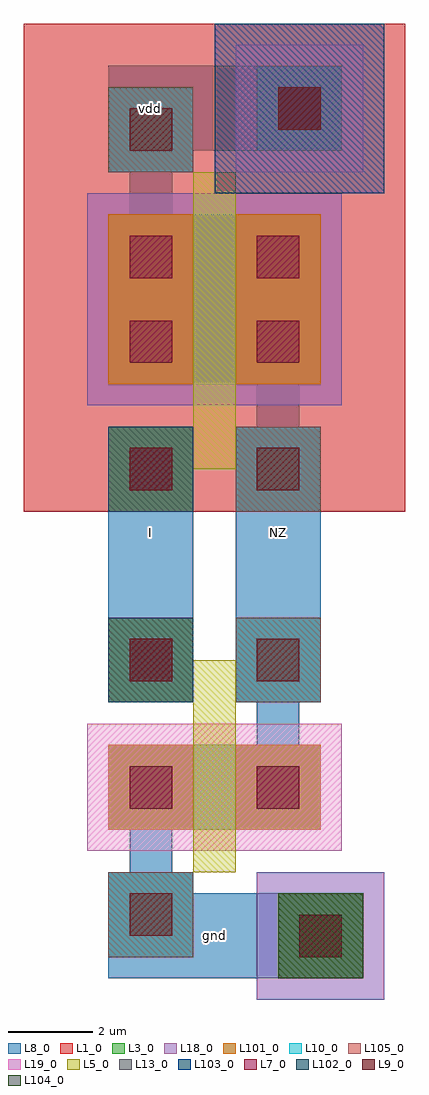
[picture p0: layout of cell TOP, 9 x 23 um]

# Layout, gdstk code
import gdstk
lib = gdstk.Library(unit=1e-6, precision=5e-07)
def R(c, l, rs):  # rectangles x0, y0, x1, y1
    for r in rs: c.add(gdstk.rectangle(r[:2], r[2:], *l))
L1_0 = (1, 0)
L3_0 = (3, 0)
L5_0 = (5, 0)
L7_0 = (7, 0)
L8_0 = (8, 0)
L9_0 = (9, 0)
L10_0 = (10, 0)
L13_0 = (13, 0)
L18_0 = (18, 0)
L19_0 = (19, 0)
L101_0 = (101, 0)
L102_0 = (102, 0)
L103_0 = (103, 0)
L104_0 = (104, 0)
L105_0 = (105, 0)

dcont = lib.new_cell('dcont')
R(dcont, L3_0, [(-1,-1,1,1)])
R(dcont, L7_0, [(-0.5,-0.5,0.5,0.5)])
R(dcont, L8_0, [(-1,-1,1,1)])
R(dcont, L13_0, [(-0.5,-0.5,0.5,0.5)])
R(dcont, L101_0, [(-1,-1,1,1)])

pcont = lib.new_cell('pcont')
R(pcont, L5_0, [(-1,-1,1,1)])
R(pcont, L7_0, [(-0.5,-0.5,0.5,0.5)])
R(pcont, L8_0, [(-1,-1,1,1)])
R(pcont, L13_0, [(-0.5,-0.5,0.5,0.5)])
R(pcont, L102_0, [(-1,-1,1,1)])

via = lib.new_cell('Via')
R(via, L8_0, [(-1,-1,1,1)])
R(via, L9_0, [(-0.5,-0.5,0.5,0.5)])
R(via, L10_0, [(-1,-1,1,1)])
R(via, L13_0, [(-0.5,-0.5,0.5,0.5)])
R(via, L105_0, [(-1,-1,1,1)])

dcont1 = lib.new_cell('dcont1')
R(dcont1, L3_0, [(-1,-1,1,1)])
R(dcont1, L7_0, [(-0.5,-0.5,0.5,0.5)])
R(dcont1, L8_0, [(-1,-1,1,1)])
R(dcont1, L13_0, [(-0.5,-0.5,0.5,0.5)])
R(dcont1, L101_0, [(-1,-1,1,1)])

nsubcont = lib.new_cell('nsubcont')
R(nsubcont, L1_0, [(-2,-2,2,2)])
R(nsubcont, L19_0, [(-1.5,-1.5,1.5,1.5)])
R(nsubcont, L103_0, [(-2,-2,2,2)])
nsubcont.add(gdstk.Reference(dcont1, (0,0)))

pch = lib.new_cell('Pch')
R(pch, L1_0, [(-2,0,7,11.5)])
R(pch, L3_0, [(0,3,5,7)])
R(pch, L18_0, [(-0.5,2.5,5.5,7.5)])
pch.add(gdstk.FlexPath([(1,3),(1,7)], 2, ends="flush", simple_path=True, layer=8, datatype=0))  # L8_0
pch.add(gdstk.FlexPath([(4,3),(4,7)], 2, ends="flush", simple_path=True, layer=8, datatype=0))  # L8_0
pch.add(gdstk.FlexPath([(1,6),(1,9)], 1, ends="flush", simple_path=True, layer=8, datatype=0))  # L8_0
pch.add(gdstk.FlexPath([(4,1),(4,4)], 1, ends="flush", simple_path=True, layer=8, datatype=0))  # L8_0
pch.add(gdstk.FlexPath([(2.5,3),(2.5,7)], 1, ends=(1, 1), simple_path=True, layer=5, datatype=0))  # L5_0
pch.add(gdstk.FlexPath([(1,1.5),(2.5,1.5),(2.5,2)], 1, ends="flush", simple_path=True, layer=5, datatype=0))  # L5_0
pch.add(gdstk.Reference(dcont, (1,4)))
pch.add(gdstk.Reference(dcont, (1,6)))
pch.add(gdstk.Reference(dcont, (4,4)))
pch.add(gdstk.Reference(dcont, (4,6)))
pch.add(gdstk.Reference(pcont, (1,1)))
pch.add(gdstk.Reference(via, (1,1)))
pch.add(gdstk.Reference(via, (1,9)))
pch.add(gdstk.Reference(via, (4,1)))
pch.add(gdstk.Reference(nsubcont, (4.5,9.5)))
pch.add(gdstk.Reference(via, (4.5,9.5)))

psubcont = lib.new_cell('psubcont')
R(psubcont, L18_0, [(-1.5,-1.5,1.5,1.5)])
R(psubcont, L104_0, [(-1,-1,1,1)])
psubcont.add(gdstk.Reference(dcont1, (0,0)))

nch = lib.new_cell('Nch')
R(nch, L3_0, [(0,3,5,5)])
R(nch, L19_0, [(-0.5,2.5,5.5,5.5)])
nch.add(gdstk.FlexPath([(1,3),(1,5)], 2, ends="flush", simple_path=True, layer=8, datatype=0))  # L8_0
nch.add(gdstk.FlexPath([(4,3),(4,5)], 2, ends="flush", simple_path=True, layer=8, datatype=0))  # L8_0
nch.add(gdstk.FlexPath([(1,1),(1,4)], 1, ends="flush", simple_path=True, layer=8, datatype=0))  # L8_0
nch.add(gdstk.FlexPath([(4,4),(4,7)], 1, ends="flush", simple_path=True, layer=8, datatype=0))  # L8_0
nch.add(gdstk.FlexPath([(2.5,3),(2.5,5)], 1, ends=(1, 1), simple_path=True, layer=5, datatype=0))  # L5_0
nch.add(gdstk.FlexPath([(1,6.5),(2.5,6.5),(2.5,6)], 1, ends="flush", simple_path=True, layer=5, datatype=0))  # L5_0
nch.add(gdstk.Reference(dcont, (1,4)))
nch.add(gdstk.Reference(dcont, (4,4)))
nch.add(gdstk.Reference(pcont, (1,7)))
nch.add(gdstk.Reference(via, (1,7)))
nch.add(gdstk.Reference(via, (1,1)))
nch.add(gdstk.Reference(via, (4,7)))
nch.add(gdstk.Reference(psubcont, (5,0.5)))
nch.add(gdstk.Reference(via, (5,0.5)))

top = lib.new_cell('TOP')
R(top, L8_0, [(0,-1,4,1), (0,7.5,2,10), (3,7.5,5,10), (0,18.5,3.5,20.5)])
top.add(gdstk.Reference(pch, (0,10)))
top.add(gdstk.Reference(nch, (0,-0.5)))
top.add(gdstk.Label('NZ', (4,9.5), layer=8, texttype=0))
top.add(gdstk.Label('gnd', (2.5,0), layer=8, texttype=0))
top.add(gdstk.Label('vdd', (1,19.5), layer=8, texttype=0))
top.add(gdstk.Label('I', (1,9.5), layer=8, texttype=0))

lib.write_gds('TOP.gds')
